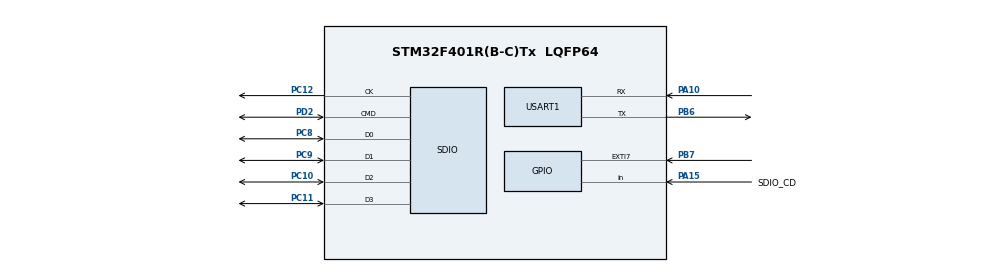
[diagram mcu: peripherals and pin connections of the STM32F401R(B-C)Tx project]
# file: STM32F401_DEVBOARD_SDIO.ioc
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FATFS.BSP.number=1
FATFS._MAX_SS=4096
FATFS0.BSP.STBoard=false
FATFS0.BSP.api=Unknown
FATFS0.BSP.instance=PA15
FATFS0.BSP.ip=GPIO
FATFS0.BSP.mode=Input
FATFS0.BSP.name=Detect_SDIO
FATFS0.BSP.solution=PA15
Mcu.Family=STM32F4
Mcu.Name=STM32F401R(B-C)Tx
Mcu.Package=LQFP64
NVIC.PriorityGroup=NVIC_PRIORITYGROUP_4
PA10.Mode=Asynchronous
PA10.Signal=USART1_RX
PA13.Mode=Serial_Wire
PA13.Signal=SYS_JTMS-SWDIO
PA14.Mode=Serial_Wire
PA14.Signal=SYS_JTCK-SWCLK
PA15.GPIO_Label=SDIO_CD
PA15.Signal=GPIO_Input
PB6.Mode=Asynchronous
PB6.Signal=USART1_TX
PB7.Signal=GPXTI7
PC10.GPIO_PuPd=GPIO_PULLUP
PC10.Mode=SD_4_bits_Wide_bus
PC10.Signal=SDIO_D2
PC11.GPIO_PuPd=GPIO_PULLUP
PC11.Mode=SD_4_bits_Wide_bus
PC11.Signal=SDIO_D3
PC12.Mode=SD_4_bits_Wide_bus
PC12.Signal=SDIO_CK
PC8.GPIO_PuPd=GPIO_PULLUP
PC8.Mode=SD_4_bits_Wide_bus
PC8.Signal=SDIO_D0
PC9.GPIO_PuPd=GPIO_PULLUP
PC9.Mode=SD_4_bits_Wide_bus
PC9.Signal=SDIO_D1
PD2.GPIO_PuPd=GPIO_PULLUP
PD2.Mode=SD_4_bits_Wide_bus
PD2.Signal=SDIO_CMD
PH0\ -\ OSC_IN.Mode=HSE-External-Oscillator
PH0\ -\ OSC_IN.Signal=RCC_OSC_IN
PH1\ -\ OSC_OUT.Mode=HSE-External-Oscillator
PH1\ -\ OSC_OUT.Signal=RCC_OSC_OUT
ProjectManager.HeapSize=0x200
ProjectManager.StackSize=0x400
ProjectManager.TargetToolchain=STM32CubeIDE
RCC.48MHZClocksFreq_Value=42000000
RCC.AHBFreq_Value=84000000
RCC.APB1CLKDivider=RCC_HCLK_DIV2
RCC.APB1Freq_Value=42000000
RCC.APB1TimFreq_Value=84000000
RCC.APB2Freq_Value=84000000
RCC.APB2TimFreq_Value=84000000
RCC.CortexFreq_Value=84000000
RCC.HCLKFreq_Value=84000000
RCC.HSE_VALUE=8000000
RCC.HSI_VALUE=16000000
RCC.LSE_VALUE=32768
RCC.PLLM=4
RCC.PLLN=84
RCC.PLLSourceVirtual=RCC_PLLSOURCE_HSE
RCC.SYSCLKFreq_VALUE=84000000
RCC.SYSCLKSource=RCC_SYSCLKSOURCE_PLLCLK
RCC.VCOOutputFreq_Value=168000000
SDIO.ClockDiv=2
USART1.VirtualMode=VM_ASYNC
VP_FATFS_VS_SDIO.Mode=SDIO
board=custom

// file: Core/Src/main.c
/* USER CODE BEGIN Header */
/**
 ******************************************************************************
 * @file           : main.c
 * @brief          : Main program body
 ******************************************************************************
 * @attention
 *
 * Copyright (c) 2025 STMicroelectronics.
 * All rights reserved.
 *
 * This software is licensed under terms that can be found in the LICENSE file
 * in the root directory of this software component.
 * If no LICENSE file comes with this software, it is provided AS-IS.
 *
 ******************************************************************************
 */
/* USER CODE END Header */
#include "main.h"
#include "fatfs.h"
#include "sdio.h"
#include "usart.h"
#include "gpio.h"

/* USER CODE BEGIN PV */
char TxBuffer[128];
/* USER CODE END PV */

void SystemClock_Config (void);
/* USER CODE BEGIN PFP */
static void SDIO_SDCard_Test (void);
/* USER CODE END PFP */

int main (void)
{

  /* MCU Configuration--------------------------------------------------------*/

  /* Reset of all peripherals, Initializes the Flash interface and the Systick. */
  HAL_Init ();

  /* Configure the system clock */
  SystemClock_Config ();

  /* Initialize all configured peripherals */
  MX_GPIO_Init ();
  MX_SDIO_SD_Init ();
  MX_USART1_UART_Init ();
  MX_FATFS_Init ();

  /* Infinite loop */
  /* USER CODE BEGIN WHILE */
  SDIO_SDCard_Test ();
  while (1)
  {
    /* USER CODE END WHILE */

  }
}

void SystemClock_Config (void)
{
  RCC_OscInitTypeDef RCC_OscInitStruct = { 0 };
  RCC_ClkInitTypeDef RCC_ClkInitStruct = { 0 };

  /** Configure the main internal regulator output voltage
   */
  __HAL_RCC_PWR_CLK_ENABLE();
  __HAL_PWR_VOLTAGESCALING_CONFIG(PWR_REGULATOR_VOLTAGE_SCALE2);

  /** Initializes the RCC Oscillators according to the specified parameters
   * in the RCC_OscInitTypeDef structure.
   */
  RCC_OscInitStruct.OscillatorType = RCC_OSCILLATORTYPE_HSE;
  RCC_OscInitStruct.HSEState = RCC_HSE_ON;
  RCC_OscInitStruct.PLL.PLLState = RCC_PLL_ON;
  RCC_OscInitStruct.PLL.PLLSource = RCC_PLLSOURCE_HSE;
  RCC_OscInitStruct.PLL.PLLM = 4;
  RCC_OscInitStruct.PLL.PLLN = 84;
  RCC_OscInitStruct.PLL.PLLP = RCC_PLLP_DIV2;
  RCC_OscInitStruct.PLL.PLLQ = 4;
  if (HAL_RCC_OscConfig (&RCC_OscInitStruct) != HAL_OK)
  {
    Error_Handler ();
  }

  /** Initializes the CPU, AHB and APB buses clocks
   */
  RCC_ClkInitStruct.ClockType = RCC_CLOCKTYPE_HCLK | RCC_CLOCKTYPE_SYSCLK | RCC_CLOCKTYPE_PCLK1 | RCC_CLOCKTYPE_PCLK2;
  RCC_ClkInitStruct.SYSCLKSource = RCC_SYSCLKSOURCE_PLLCLK;
  RCC_ClkInitStruct.AHBCLKDivider = RCC_SYSCLK_DIV1;
  RCC_ClkInitStruct.APB1CLKDivider = RCC_HCLK_DIV2;
  RCC_ClkInitStruct.APB2CLKDivider = RCC_HCLK_DIV1;

  if (HAL_RCC_ClockConfig (&RCC_ClkInitStruct, FLASH_LATENCY_2) != HAL_OK)
  {
    Error_Handler ();
  }
}

/* USER CODE BEGIN 4 */
static void SDIO_SDCard_Test (void)
{
  FATFS FatFs;
  FIL Fil;
  FRESULT FR_Status;
  FATFS *FS_Ptr;
  UINT RWC, WWC; // Read/Write Word Counter
  DWORD FreeClusters;
  uint32_t TotalSize, FreeSpace;
  char RW_Buffer[256];

  sprintf (TxBuffer, "TEST SDIO interface.\r\n");
  HAL_UART_Transmit (&huart1, (uint8_t*) TxBuffer, strlen (TxBuffer), 20);

  do
  {
    //------------------[ Mount The SD Card ]--------------------
    FR_Status = f_mount (&FatFs, SDPath, 1);
    if (FR_Status != FR_OK)
    {
      sprintf (TxBuffer, "Error! While Mounting SD Card, Error Code: (%i)\r\n", FR_Status);
      HAL_UART_Transmit (&huart1, (uint8_t*) TxBuffer, strlen (TxBuffer), 20);
      break;
    }
    else
    {
      sprintf (TxBuffer, "SD Card Mounted Successfully! \r\n\n");
      HAL_UART_Transmit (&huart1, (uint8_t*) TxBuffer, strlen (TxBuffer), 20);

      if (HAL_SD_ConfigWideBusOperation (&hsd, SDIO_BUS_WIDE_4B) != HAL_OK)
      {
        sprintf (TxBuffer, "Cant shange SDIO to 4bit.\r\n\n");
        HAL_UART_Transmit (&huart1, (uint8_t*) TxBuffer, strlen (TxBuffer), 20);
      }
      else
      {
        sprintf (TxBuffer, "Change SDIO to 4bit mode success!\r\n\n");
        HAL_UART_Transmit (&huart1, (uint8_t*) TxBuffer, strlen (TxBuffer), 20);
      }

    }

    //------------------[ Get & Print The SD Card Size & Free Space ]--------------------
    f_getfree ("", &FreeClusters, &FS_Ptr);
    TotalSize = (uint32_t) ((FS_Ptr->n_fatent - 2) * FS_Ptr->csize * 0.5);
    FreeSpace = (uint32_t) (FreeClusters * FS_Ptr->csize * 0.5);
    sprintf (TxBuffer, "Total SD Card Size: %lu KBytes\r\n", TotalSize);
    HAL_UART_Transmit (&huart1, (uint8_t*) TxBuffer, strlen (TxBuffer), 20);
    sprintf (TxBuffer, "Free SD Card Space: %lu KBytes\r\n\n", FreeSpace);
    HAL_UART_Transmit (&huart1, (uint8_t*) TxBuffer, strlen (TxBuffer), 20);
    //------------------[ Open A Text File For Write & Write Data ]--------------------
    //Open the file
    FR_Status = f_open (&Fil, "log.txt", FA_WRITE | FA_READ | FA_CREATE_ALWAYS);
    if (FR_Status != FR_OK)
    {
      sprintf (TxBuffer, "Error! While Creating/Opening A New Text File, Error Code: (%i)\r\n", FR_Status);
      HAL_UART_Transmit (&huart1, (uint8_t*) TxBuffer, strlen (TxBuffer), 20);
      break;
    }
    sprintf (TxBuffer, "Text File Created & Opened! Writing Data To The Text File..\r\n\n");
    HAL_UART_Transmit (&huart1, (uint8_t*) TxBuffer, strlen (TxBuffer), 20);
    // (1) Write Data To The Text File [ Using f_puts() Function ]
    f_puts ("Hello! From STM32 To SD Card Over SDIO, Using f_puts()\n", &Fil);
    // (2) Write Data To The Text File [ Using f_write() Function ]
    strcpy (RW_Buffer, "Hello! From STM32 To SD Card Over SDIO, Using f_write()\r\n");
    f_write (&Fil, RW_Buffer, strlen (RW_Buffer), &WWC);
    // Close The File
    f_close (&Fil);
    //------------------[ Open A Text File For Read & Read Its Data ]--------------------
    // Open The File
    FR_Status = f_open (&Fil, "log.txt", FA_READ);
    if (FR_Status != FR_OK)
    {
      sprintf (TxBuffer, "Error! While Opening (log.txt) File For Read.. \r\n");
      HAL_UART_Transmit (&huart1, (uint8_t*) TxBuffer, strlen (TxBuffer), 20);
      break;
    }
    // (1) Read The Text File's Data [ Using f_gets() Function ]
    f_gets (RW_Buffer, sizeof(RW_Buffer), &Fil);
    sprintf (TxBuffer, "Data Read From (log.txt) Using f_gets(): %s", RW_Buffer);
    HAL_UART_Transmit (&huart1, (uint8_t*) TxBuffer, strlen (TxBuffer), 20);
    // (2) Read The Text File's Data [ Using f_read() Function ]
    f_read (&Fil, RW_Buffer, f_size(&Fil), &RWC);
    sprintf (TxBuffer, "Data Read From (log.txt) Using f_read(): %s", RW_Buffer);
    HAL_UART_Transmit (&huart1, (uint8_t*) TxBuffer, strlen (TxBuffer), 20);
    // Close The File
    f_close (&Fil);
    sprintf (TxBuffer, "File Closed! \r\n\n");
    HAL_UART_Transmit (&huart1, (uint8_t*) TxBuffer, strlen (TxBuffer), 20);
    //------------------[ Open An Existing Text File, Update Its Content, Read It Back ]--------------------
    // (1) Open The Existing File For Write (Update)
    FR_Status = f_open (&Fil, "log.txt", FA_OPEN_EXISTING | FA_WRITE);
    FR_Status = f_lseek (&Fil, f_size(&Fil)); // Move The File Pointer To The EOF (End-Of-File)
    if (FR_Status != FR_OK)
    {
      sprintf (TxBuffer, "Error! While Opening (log.txt) File For Update.. \r\n");
      HAL_UART_Transmit (&huart1, (uint8_t*) TxBuffer, strlen (TxBuffer), 20);
      break;
    }
    // (2) Write New Line of Text Data To The File
    FR_Status = f_puts ("This New Line Was Added During File Update!\r\n\n", &Fil);
    f_close (&Fil);
    memset (RW_Buffer, '\0', sizeof(RW_Buffer)); // Clear The Buffer
    // (3) Read The Contents of The Text File After The Update
    FR_Status = f_open (&Fil, "log.txt", FA_READ); // Open The File For Read
    f_read (&Fil, RW_Buffer, f_size(&Fil), &RWC);
    sprintf (TxBuffer, "Data Read From (log.txt) After Update:\r\n%s", RW_Buffer);
    HAL_UART_Transmit (&huart1, (uint8_t*) TxBuffer, strlen (TxBuffer), 50);
    f_close (&Fil);
    //------------------[ Delete The Text File ]--------------------
    // Delete The File
    FR_Status = f_unlink ("0:/log.txt");
    if (FR_Status != FR_OK)
    {
      sprintf (TxBuffer, "Error! While Deleting The (log.txt) File.. \r\n");
      HAL_UART_Transmit (&huart1, (uint8_t*) TxBuffer, strlen (TxBuffer), 20);
    }
    else
    {
      sprintf (TxBuffer, "File (log.txt) Delete! \r\n");
      HAL_UART_Transmit (&huart1, (uint8_t*) TxBuffer, strlen (TxBuffer), 20);
    }
  }
  while (0);
  //------------------[ Test Complete! Unmount The SD Card ]--------------------
  FR_Status = f_mount (NULL, "", 0);
  if (FR_Status != FR_OK)
  {
    sprintf (TxBuffer, "\r\nError! While Un-mounting SD Card, Error Code: (%i)\r\n", FR_Status);
    HAL_UART_Transmit (&huart1, (uint8_t*) TxBuffer, strlen (TxBuffer), 20);
  }
  else
  {
    sprintf (TxBuffer, "\r\nSD Card Un-mounted Successfully! \r\n");
    HAL_UART_Transmit (&huart1, (uint8_t*) TxBuffer, strlen (TxBuffer), 20);

  }
}
/* USER CODE END 4 */

void Error_Handler (void)
{
  /* USER CODE BEGIN Error_Handler_Debug */
  /* User can add his own implementation to report the HAL error return state */
  __disable_irq ();
  while (1)
  {
  }
  /* USER CODE END Error_Handler_Debug */
}
